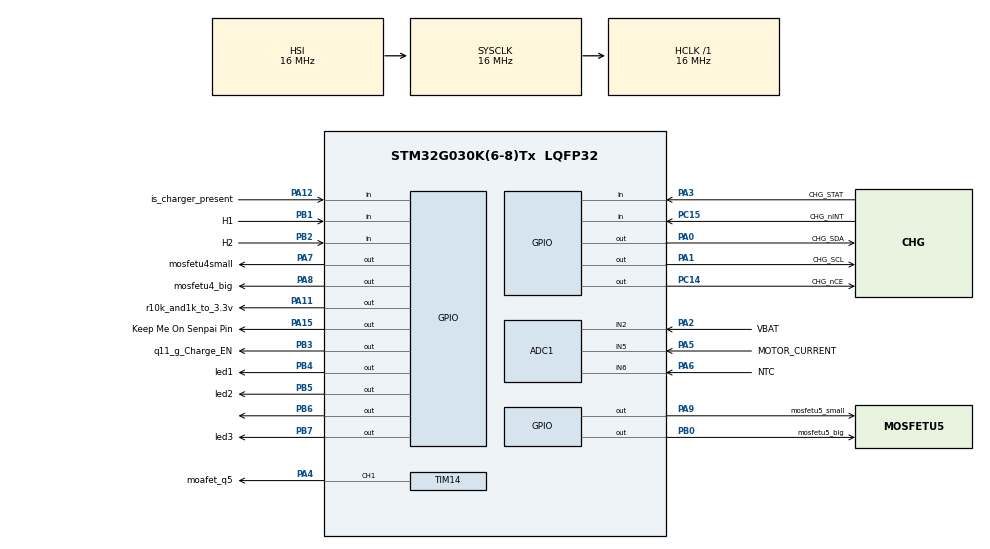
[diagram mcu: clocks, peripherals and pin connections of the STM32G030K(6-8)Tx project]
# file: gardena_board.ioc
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Mcu.Family=STM32G0
PA6.Mode=IN6
ADC1.LowPowerAutoWait=DISABLE
RCC.CortexFreq_Value=16000000
TIM14.AutoReloadPreload=TIM_AUTORELOAD_PRELOAD_DISABLE
VP_ADC1_TempSens_Input.Mode=IN-TempSens
Dma.ADC1.0.Polarity=HAL_DMAMUX_REQ_GEN_RISING
PA11\ [PA9].GPIO_Label=r10k_and1k_to_3.3v
PA12\ [PA10].GPIO_Label=is_charger_present
PA3.GPIO_PuPd=GPIO_PULLUP
PA0.PinState=GPIO_PIN_SET
PA0.GPIO_Label=CHG_SDA
PA14-BOOT0.Mode=Serial_Wire
PA6.GPIO_Label=NTC
PB0.GPIO_Label=mosfetu5_big
PB6.GPIO_Label=u10_dcp?
ADC1.SamplingTimeCommon2=ADC_SAMPLETIME_1CYCLE_5
ADC1.SamplingTimeCommon1=ADC_SAMPLETIME_12CYCLES_5
ProjectManager.StackSize=0x400
TIM14.ClockDivision=TIM_CLOCKDIVISION_DIV1
PA15.GPIO_Label=Keep Me On Senpai Pin
ADC1.Channel-5\#ChannelRegularConversion=ADC_CHANNEL_VREFINT
PA7.PinState=GPIO_PIN_RESET
PB0.PinState=GPIO_PIN_RESET
PB3.PinState=GPIO_PIN_RESET
SH.S_TIM14_CH1.0=TIM14_CH1,PWM Generation1 CH1
ADC1.Channel-3\#ChannelRegularConversion=ADC_CHANNEL_TEMPSENSOR
RCC.HCLKFreq_Value=16000000
PA12\ [PA10].Signal=GPIO_Input
PB6.Signal=GPIO_Output
Dma.ADC1.0.Direction=DMA_PERIPH_TO_MEMORY
ADC1.Channel-2\#ChannelRegularConversion=ADC_CHANNEL_6
PB5.PinState=GPIO_PIN_SET
PA1.GPIO_PuPd=GPIO_PULLUP
Dma.ADC1.0.MemDataAlignment=DMA_MDATAALIGN_HALFWORD
RCC.AHBFreq_Value=16000000
PA14-BOOT0.Signal=SYS_SWCLK
ADC1.Channel-0\#ChannelRegularConversion=ADC_CHANNEL_2
RCC.HSE_VALUE=8000000
PB2.Signal=GPIO_Input
TIM14.Period=80-1
VP_ADC1_Vref_Input.Mode=IN-Vrefint
ADC1.Rank-2\#ChannelRegularConversion=3
PB1.GPIO_Label=H1
Dma.ADC1.0.PeriphInc=DMA_PINC_DISABLE
PB7.Signal=GPIO_Output
PA8.Signal=GPIO_Output
ADC1.SamplingTime-0\#ChannelRegularConversion=ADC_SAMPLINGTIME_COMMON_1
PB7.PinState=GPIO_PIN_RESET
PA0.Signal=GPIO_Output
PB7.GPIO_Label=led3
ADC1.SelectedChannel=ADC_CHANNEL_2|ADC_CHANNEL_5|ADC_CHANNEL_6|ADC_CHANNEL_TEMPSENSOR|ADC_CHANNEL_VREFINT
Mcu.Package=LQFP32
PB1.Signal=GPIO_Input
PA6.Signal=ADC1_IN6
ADC1.OversamplingMode=ENABLE
PC14-OSC32_IN\ (PC14).PinState=GPIO_PIN_SET
PA0.GPIO_PuPd=GPIO_PULLUP
PA2.GPIO_Label=VBAT
PA15.Signal=GPIO_Output
PA1.PinState=GPIO_PIN_SET
PC14-OSC32_IN\ (PC14).GPIO_ModeDefaultOutputPP=GPIO_MODE_OUTPUT_PP
PB5.GPIO_Label=led2
VP_TIM14_VS_ClockSourceINT.Mode=Enable_Timer
Dma.Request0=ADC1
PB4.PinState=GPIO_PIN_SET
PA4.GPIO_Label=moafet_q5
PA0.GPIO_ModeDefaultOutputPP=GPIO_MODE_OUTPUT_OD
Dma.ADC1.0.EventEnable=DISABLE
PA8.PinState=GPIO_PIN_RESET
PB4.Signal=GPIO_Output
PA3.Signal=GPIO_Input
PA5.Mode=IN5
PB3.GPIO_Label=q11_g_Charge_EN
Dma.ADC1.0.Instance=DMA1_Channel1
PC15-OSC32_OUT\ (PC15).GPIO_Label=CHG_nINT
ADC1.Rank-0\#ChannelRegularConversion=1
Dma.ADC1.0.SyncRequestNumber=1
ADC1.ChannelVREF=ADC_CHANNEL_VREFINT
PA9.GPIO_Label=mosfetu5_small
RCC.EXTERNAL_CLOCK_VALUE=12288000
PC15-OSC32_OUT\ (PC15).Signal=GPIO_Input
ADC1.SamplingTime-2\#ChannelRegularConversion=ADC_SAMPLINGTIME_COMMON_1
PC14-OSC32_IN\ (PC14).GPIO_Label=CHG_nCE
PA0.GPIO_Speed=GPIO_SPEED_FREQ_HIGH
PA13.Signal=SYS_SWDIO
Dma.ADC1.0.PeriphDataAlignment=DMA_PDATAALIGN_HALFWORD
PA8.GPIO_Label=mosfetu4_big
ProjectManager.TargetToolchain=STM32CubeIDE
Dma.ADC1.0.Mode=DMA_NORMAL
Dma.ADC1.0.SignalID=NONE
Dma.ADC1.0.SyncSignalID=NONE
Dma.ADC1.0.Priority=DMA_PRIORITY_LOW
PA9.Signal=GPIO_Output
ADC1.Channel-1\#ChannelRegularConversion=ADC_CHANNEL_5
PA9.PinState=GPIO_PIN_RESET
ADC1.EnableAnalogWatchDog1=false
ADC1.Ratio=ADC_OVERSAMPLING_RATIO_16
RCC.LSE_VALUE=32768
PA1.Signal=GPIO_Output
ADC1.TriggeredMode=ADC_TRIGGEREDMODE_SINGLE_TRIGGER
PA5.Signal=ADC1_IN5
board=custom
RCC.VCOOutputFreq_Value=128000000
ADC1.ChannelTS=ADC_CHANNEL_TEMPSENSOR
PC15-OSC32_OUT\ (PC15).GPIO_PuPd=GPIO_PULLUP
Dma.ADC1.0.SyncPolarity=HAL_DMAMUX_SYNC_NO_EVENT
PA15.PinState=GPIO_PIN_SET
TIM14.Channel=TIM_CHANNEL_1
PB4.GPIO_Label=led1
PA1.GPIO_Speed=GPIO_SPEED_FREQ_HIGH
PA1.GPIO_Label=CHG_SCL
PA11\ [PA9].PinState=GPIO_PIN_RESET
ADC1.NbrOfConversion=5
PA13.Mode=Serial_Wire
Mcu.Name=STM32G030K(6-8)Tx
PA11\ [PA9].Signal=GPIO_Output
TIM14.Prescaler=16-1
PA2.Signal=ADC1_IN2
PB3.Signal=GPIO_Output
PA4.Signal=S_TIM14_CH1
ADC1.SamplingTime-1\#ChannelRegularConversion=ADC_SAMPLINGTIME_COMMON_2
RCC.SYSCLKFreq_VALUE=16000000
PB5.Signal=GPIO_Output
PA7.GPIO_Label=mosfetu4small
ADC1.master=1
ADC1.SamplingTime-3\#ChannelRegularConversion=ADC_SAMPLINGTIME_COMMON_1
ADC1.Rank-3\#ChannelRegularConversion=4
PA5.GPIO_Label=MOTOR_CURRENT
PC14-OSC32_IN\ (PC14).Signal=GPIO_Output
PB6.PinState=GPIO_PIN_SET
ADC1.Rank-1\#ChannelRegularConversion=2
Dma.ADC1.0.RequestNumber=1
Dma.ADC1.0.SyncEnable=DISABLE
Dma.ADC1.0.MemInc=DMA_MINC_ENABLE
PB2.GPIO_Label=H2
ProjectManager.HeapSize=0x200
ADC1.SamplingTime-5\#ChannelRegularConversion=ADC_SAMPLINGTIME_COMMON_1
RCC.HSI_VALUE=16000000
ADC1.NbrOfConversionFlag=1
PA2.Mode=IN2
NVIC.DMA1_Channel1_IRQn=true\:0\:0\:false\:false\:true\:false\:true
PB0.Signal=GPIO_Output
ADC1.Rank-5\#ChannelRegularConversion=5
PA3.GPIO_Label=CHG_STAT
PA7.Signal=GPIO_Output
PA1.GPIO_ModeDefaultOutputPP=GPIO_MODE_OUTPUT_OD

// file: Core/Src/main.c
/* USER CODE BEGIN Header */
/**
  ******************************************************************************
  * @file           : main.c
  * @brief          : Main program body
  ******************************************************************************
  * @attention
  *
  * <h2><center>&copy; Copyright (c) 2023 STMicroelectronics.
  * All rights reserved.</center></h2>
  *
  * This software component is licensed by ST under BSD 3-Clause license,
  * the "License"; You may not use this file except in compliance with the
  * License. You may obtain a copy of the License at:
  *                        opensource.org/licenses/BSD-3-Clause
  *
  ******************************************************************************
  */
/* USER CODE END Header */
#include "main.h"

/* USER CODE BEGIN Includes */
#include "hardware_functions.h"
#define USE_ASSISTCUT
#define ENABLE_DEBUG
#ifdef USE_HOOPINGBLOUIE
#include "hoopingblouie.h"
#endif
#ifdef USE_ASSISTCUT
#include "assistcut.h"
#endif
/* USER CODE END Includes */

/* USER CODE BEGIN PD */
extern void HAL_ADC_ConvCpltCallback(ADC_HandleTypeDef *hadc);
/* USER CODE END PD */

ADC_HandleTypeDef hadc1;
DMA_HandleTypeDef hdma_adc1;

TIM_HandleTypeDef htim14;

void SystemClock_Config(void);
static void MX_GPIO_Init(void);
static void MX_DMA_Init(void);
static void MX_TIM14_Init(void);
static void MX_ADC1_Init(void);

int main(void)
{

  /* MCU Configuration--------------------------------------------------------*/

  /* Reset of all peripherals, Initializes the Flash interface and the Systick. */
  HAL_Init();

  /* Configure the system clock */
  SystemClock_Config();

  /* Initialize all configured peripherals */
  MX_GPIO_Init();
  MX_DMA_Init();
  MX_TIM14_Init();
  MX_ADC1_Init();
  /* USER CODE BEGIN 2 */

  if (HAL_TIM_PWM_Start(&htim14, TIM_CHANNEL_1) != HAL_OK)
  {
  Error_Handler();
  }
  // Calibrate The ADC On Power-Up For Better Accuracy
  HAL_ADCEx_Calibration_Start(&hadc1);
  startADCDMA();

#ifdef USE_HOOPINGBLOUIE
  init_hoopingblouie();
#endif
#ifdef USE_ASSISTCUT
  init_assistcut();
#endif
  /* USER CODE END 2 */

  /* Infinite loop */
  /* USER CODE BEGIN WHILE */
  while (1)
  {
#ifdef ENABLE_DEBUG

#endif
#ifdef USE_HOOPINGBLOUIE

	  loop_hoopingblouie();
#endif

#ifdef USE_ASSISTCUT
  loop_assistcut();
#endif
    /* USER CODE END WHILE */

  }
}

void SystemClock_Config(void)
{
  RCC_OscInitTypeDef RCC_OscInitStruct = {0};
  RCC_ClkInitTypeDef RCC_ClkInitStruct = {0};
  RCC_PeriphCLKInitTypeDef PeriphClkInit = {0};

  /** Configure the main internal regulator output voltage
  */
  HAL_PWREx_ControlVoltageScaling(PWR_REGULATOR_VOLTAGE_SCALE1);
  /** Initializes the RCC Oscillators according to the specified parameters
  * in the RCC_OscInitTypeDef structure.
  */
  RCC_OscInitStruct.OscillatorType = RCC_OSCILLATORTYPE_HSI;
  RCC_OscInitStruct.HSIState = RCC_HSI_ON;
  RCC_OscInitStruct.HSIDiv = RCC_HSI_DIV1;
  RCC_OscInitStruct.HSICalibrationValue = RCC_HSICALIBRATION_DEFAULT;
  RCC_OscInitStruct.PLL.PLLState = RCC_PLL_NONE;
  if (HAL_RCC_OscConfig(&RCC_OscInitStruct) != HAL_OK)
  {
    Error_Handler();
  }
  /** Initializes the CPU, AHB and APB buses clocks
  */
  RCC_ClkInitStruct.ClockType = RCC_CLOCKTYPE_HCLK|RCC_CLOCKTYPE_SYSCLK
                              |RCC_CLOCKTYPE_PCLK1;
  RCC_ClkInitStruct.SYSCLKSource = RCC_SYSCLKSOURCE_HSI;
  RCC_ClkInitStruct.AHBCLKDivider = RCC_SYSCLK_DIV1;
  RCC_ClkInitStruct.APB1CLKDivider = RCC_HCLK_DIV1;

  if (HAL_RCC_ClockConfig(&RCC_ClkInitStruct, FLASH_LATENCY_0) != HAL_OK)
  {
    Error_Handler();
  }
  /** Initializes the peripherals clocks
  */
  PeriphClkInit.PeriphClockSelection = RCC_PERIPHCLK_ADC;
  PeriphClkInit.AdcClockSelection = RCC_ADCCLKSOURCE_SYSCLK;
  if (HAL_RCCEx_PeriphCLKConfig(&PeriphClkInit) != HAL_OK)
  {
    Error_Handler();
  }
}

static void MX_ADC1_Init(void)
{

  ADC_ChannelConfTypeDef sConfig = {0};

  /** Configure the global features of the ADC (Clock, Resolution, Data Alignment and number of conversion)
  */
  hadc1.Instance = ADC1;
  hadc1.Init.ClockPrescaler = ADC_CLOCK_SYNC_PCLK_DIV2;
  hadc1.Init.Resolution = ADC_RESOLUTION_12B;
  hadc1.Init.DataAlign = ADC_DATAALIGN_RIGHT;
  hadc1.Init.ScanConvMode = ADC_SCAN_ENABLE;
  hadc1.Init.EOCSelection = ADC_EOC_SINGLE_CONV;
  hadc1.Init.LowPowerAutoWait = DISABLE;
  hadc1.Init.LowPowerAutoPowerOff = DISABLE;
  hadc1.Init.ContinuousConvMode = DISABLE;
  hadc1.Init.NbrOfConversion = 5;
  hadc1.Init.DiscontinuousConvMode = DISABLE;
  hadc1.Init.ExternalTrigConv = ADC_SOFTWARE_START;
  hadc1.Init.ExternalTrigConvEdge = ADC_EXTERNALTRIGCONVEDGE_NONE;
  hadc1.Init.DMAContinuousRequests = DISABLE;
  hadc1.Init.Overrun = ADC_OVR_DATA_PRESERVED;
  hadc1.Init.SamplingTimeCommon1 = ADC_SAMPLETIME_12CYCLES_5;
  hadc1.Init.SamplingTimeCommon2 = ADC_SAMPLETIME_1CYCLE_5;
  hadc1.Init.OversamplingMode = ENABLE;
  hadc1.Init.Oversampling.Ratio = ADC_OVERSAMPLING_RATIO_16;
  hadc1.Init.Oversampling.RightBitShift = ADC_RIGHTBITSHIFT_NONE;
  hadc1.Init.Oversampling.TriggeredMode = ADC_TRIGGEREDMODE_SINGLE_TRIGGER;
  hadc1.Init.TriggerFrequencyMode = ADC_TRIGGER_FREQ_HIGH;
  if (HAL_ADC_Init(&hadc1) != HAL_OK)
  {
    Error_Handler();
  }
  /** Configure Regular Channel
  */
  sConfig.Channel = ADC_CHANNEL_2;
  sConfig.Rank = ADC_REGULAR_RANK_1;
  sConfig.SamplingTime = ADC_SAMPLINGTIME_COMMON_1;
  if (HAL_ADC_ConfigChannel(&hadc1, &sConfig) != HAL_OK)
  {
    Error_Handler();
  }
  /** Configure Regular Channel
  */
  sConfig.Channel = ADC_CHANNEL_5;
  sConfig.Rank = ADC_REGULAR_RANK_2;
  sConfig.SamplingTime = ADC_SAMPLINGTIME_COMMON_2;
  if (HAL_ADC_ConfigChannel(&hadc1, &sConfig) != HAL_OK)
  {
    Error_Handler();
  }
  /** Configure Regular Channel
  */
  sConfig.Channel = ADC_CHANNEL_6;
  sConfig.Rank = ADC_REGULAR_RANK_3;
  sConfig.SamplingTime = ADC_SAMPLINGTIME_COMMON_1;
  if (HAL_ADC_ConfigChannel(&hadc1, &sConfig) != HAL_OK)
  {
    Error_Handler();
  }
  /** Configure Regular Channel
  */
  sConfig.Channel = ADC_CHANNEL_TEMPSENSOR;
  sConfig.Rank = ADC_REGULAR_RANK_4;
  if (HAL_ADC_ConfigChannel(&hadc1, &sConfig) != HAL_OK)
  {
    Error_Handler();
  }
  /** Configure Regular Channel
  */
  sConfig.Channel = ADC_CHANNEL_VREFINT;
  sConfig.Rank = ADC_REGULAR_RANK_5;
  if (HAL_ADC_ConfigChannel(&hadc1, &sConfig) != HAL_OK)
  {
    Error_Handler();
  }

}

static void MX_TIM14_Init(void)
{

  TIM_OC_InitTypeDef sConfigOC = {0};

  htim14.Instance = TIM14;
  htim14.Init.Prescaler = 16-1;
  htim14.Init.CounterMode = TIM_COUNTERMODE_UP;
  htim14.Init.Period = 80-1;
  htim14.Init.ClockDivision = TIM_CLOCKDIVISION_DIV1;
  htim14.Init.AutoReloadPreload = TIM_AUTORELOAD_PRELOAD_DISABLE;
  if (HAL_TIM_Base_Init(&htim14) != HAL_OK)
  {
    Error_Handler();
  }
  if (HAL_TIM_PWM_Init(&htim14) != HAL_OK)
  {
    Error_Handler();
  }
  sConfigOC.OCMode = TIM_OCMODE_PWM1;
  sConfigOC.Pulse = 0;
  sConfigOC.OCPolarity = TIM_OCPOLARITY_HIGH;
  sConfigOC.OCFastMode = TIM_OCFAST_DISABLE;
  if (HAL_TIM_PWM_ConfigChannel(&htim14, &sConfigOC, TIM_CHANNEL_1) != HAL_OK)
  {
    Error_Handler();
  }
  HAL_TIM_MspPostInit(&htim14);

}

static void MX_DMA_Init(void)
{

  /* DMA controller clock enable */
  __HAL_RCC_DMA1_CLK_ENABLE();

  /* DMA interrupt init */
  /* DMA1_Channel1_IRQn interrupt configuration */
  HAL_NVIC_SetPriority(DMA1_Channel1_IRQn, 0, 0);
  HAL_NVIC_EnableIRQ(DMA1_Channel1_IRQn);

}

static void MX_GPIO_Init(void)
{
  GPIO_InitTypeDef GPIO_InitStruct = {0};

  /* GPIO Ports Clock Enable */
  __HAL_RCC_GPIOC_CLK_ENABLE();
  __HAL_RCC_GPIOA_CLK_ENABLE();
  __HAL_RCC_GPIOB_CLK_ENABLE();

  /*Configure GPIO pin Output Level */
  HAL_GPIO_WritePin(CHG_nCE_GPIO_Port, CHG_nCE_Pin, GPIO_PIN_SET);

  /*Configure GPIO pin Output Level */
  HAL_GPIO_WritePin(GPIOA, CHG_SDA_Pin|CHG_SCL_Pin|Keep_Me_On_Senpai_Pin_Pin, GPIO_PIN_SET);

  /*Configure GPIO pin Output Level */
  HAL_GPIO_WritePin(GPIOA, mosfetu4small_Pin|mosfetu4_big_Pin|mosfetu5_small_Pin|r10k_and1k_to_3_3v_Pin, GPIO_PIN_RESET);

  /*Configure GPIO pin Output Level */
  HAL_GPIO_WritePin(GPIOB, mosfetu5_big_Pin|q11_g_Charge_EN_Pin|led3_Pin, GPIO_PIN_RESET);

  /*Configure GPIO pin Output Level */
  HAL_GPIO_WritePin(GPIOB, led1_Pin|led2_Pin|u10_dcp__Pin, GPIO_PIN_SET);

  /*Configure GPIO pin : CHG_nCE_Pin */
  GPIO_InitStruct.Pin = CHG_nCE_Pin;
  GPIO_InitStruct.Mode = GPIO_MODE_OUTPUT_PP;
  GPIO_InitStruct.Pull = GPIO_NOPULL;
  GPIO_InitStruct.Speed = GPIO_SPEED_FREQ_LOW;
  HAL_GPIO_Init(CHG_nCE_GPIO_Port, &GPIO_InitStruct);

  /*Configure GPIO pin : CHG_nINT_Pin */
  GPIO_InitStruct.Pin = CHG_nINT_Pin;
  GPIO_InitStruct.Mode = GPIO_MODE_INPUT;
  GPIO_InitStruct.Pull = GPIO_PULLUP;
  HAL_GPIO_Init(CHG_nINT_GPIO_Port, &GPIO_InitStruct);

  /*Configure GPIO pins : CHG_SDA_Pin CHG_SCL_Pin */
  GPIO_InitStruct.Pin = CHG_SDA_Pin|CHG_SCL_Pin;
  GPIO_InitStruct.Mode = GPIO_MODE_OUTPUT_OD;
  GPIO_InitStruct.Pull = GPIO_PULLUP;
  GPIO_InitStruct.Speed = GPIO_SPEED_FREQ_HIGH;
  HAL_GPIO_Init(GPIOA, &GPIO_InitStruct);

  /*Configure GPIO pin : CHG_STAT_Pin */
  GPIO_InitStruct.Pin = CHG_STAT_Pin;
  GPIO_InitStruct.Mode = GPIO_MODE_INPUT;
  GPIO_InitStruct.Pull = GPIO_PULLUP;
  HAL_GPIO_Init(CHG_STAT_GPIO_Port, &GPIO_InitStruct);

  /*Configure GPIO pins : mosfetu4small_Pin mosfetu4_big_Pin mosfetu5_small_Pin r10k_and1k_to_3_3v_Pin
                           Keep_Me_On_Senpai_Pin_Pin */
  GPIO_InitStruct.Pin = mosfetu4small_Pin|mosfetu4_big_Pin|mosfetu5_small_Pin|r10k_and1k_to_3_3v_Pin
                          |Keep_Me_On_Senpai_Pin_Pin;
  GPIO_InitStruct.Mode = GPIO_MODE_OUTPUT_PP;
  GPIO_InitStruct.Pull = GPIO_NOPULL;
  GPIO_InitStruct.Speed = GPIO_SPEED_FREQ_LOW;
  HAL_GPIO_Init(GPIOA, &GPIO_InitStruct);

  /*Configure GPIO pins : mosfetu5_big_Pin q11_g_Charge_EN_Pin led1_Pin led2_Pin
                           u10_dcp__Pin led3_Pin */
  GPIO_InitStruct.Pin = mosfetu5_big_Pin|q11_g_Charge_EN_Pin|led1_Pin|led2_Pin
                          |u10_dcp__Pin|led3_Pin;
  GPIO_InitStruct.Mode = GPIO_MODE_OUTPUT_PP;
  GPIO_InitStruct.Pull = GPIO_NOPULL;
  GPIO_InitStruct.Speed = GPIO_SPEED_FREQ_LOW;
  HAL_GPIO_Init(GPIOB, &GPIO_InitStruct);

  /*Configure GPIO pins : H1_Pin H2_Pin */
  GPIO_InitStruct.Pin = H1_Pin|H2_Pin;
  GPIO_InitStruct.Mode = GPIO_MODE_INPUT;
  GPIO_InitStruct.Pull = GPIO_NOPULL;
  HAL_GPIO_Init(GPIOB, &GPIO_InitStruct);

  /*Configure GPIO pin : is_charger_present_Pin */
  GPIO_InitStruct.Pin = is_charger_present_Pin;
  GPIO_InitStruct.Mode = GPIO_MODE_INPUT;
  GPIO_InitStruct.Pull = GPIO_NOPULL;
  HAL_GPIO_Init(is_charger_present_GPIO_Port, &GPIO_InitStruct);

}

void Error_Handler(void)
{
  __disable_irq();
  while (1)
  {
  }
}

/************************ (C) COPYRIGHT STMicroelectronics *****END OF FILE****/
